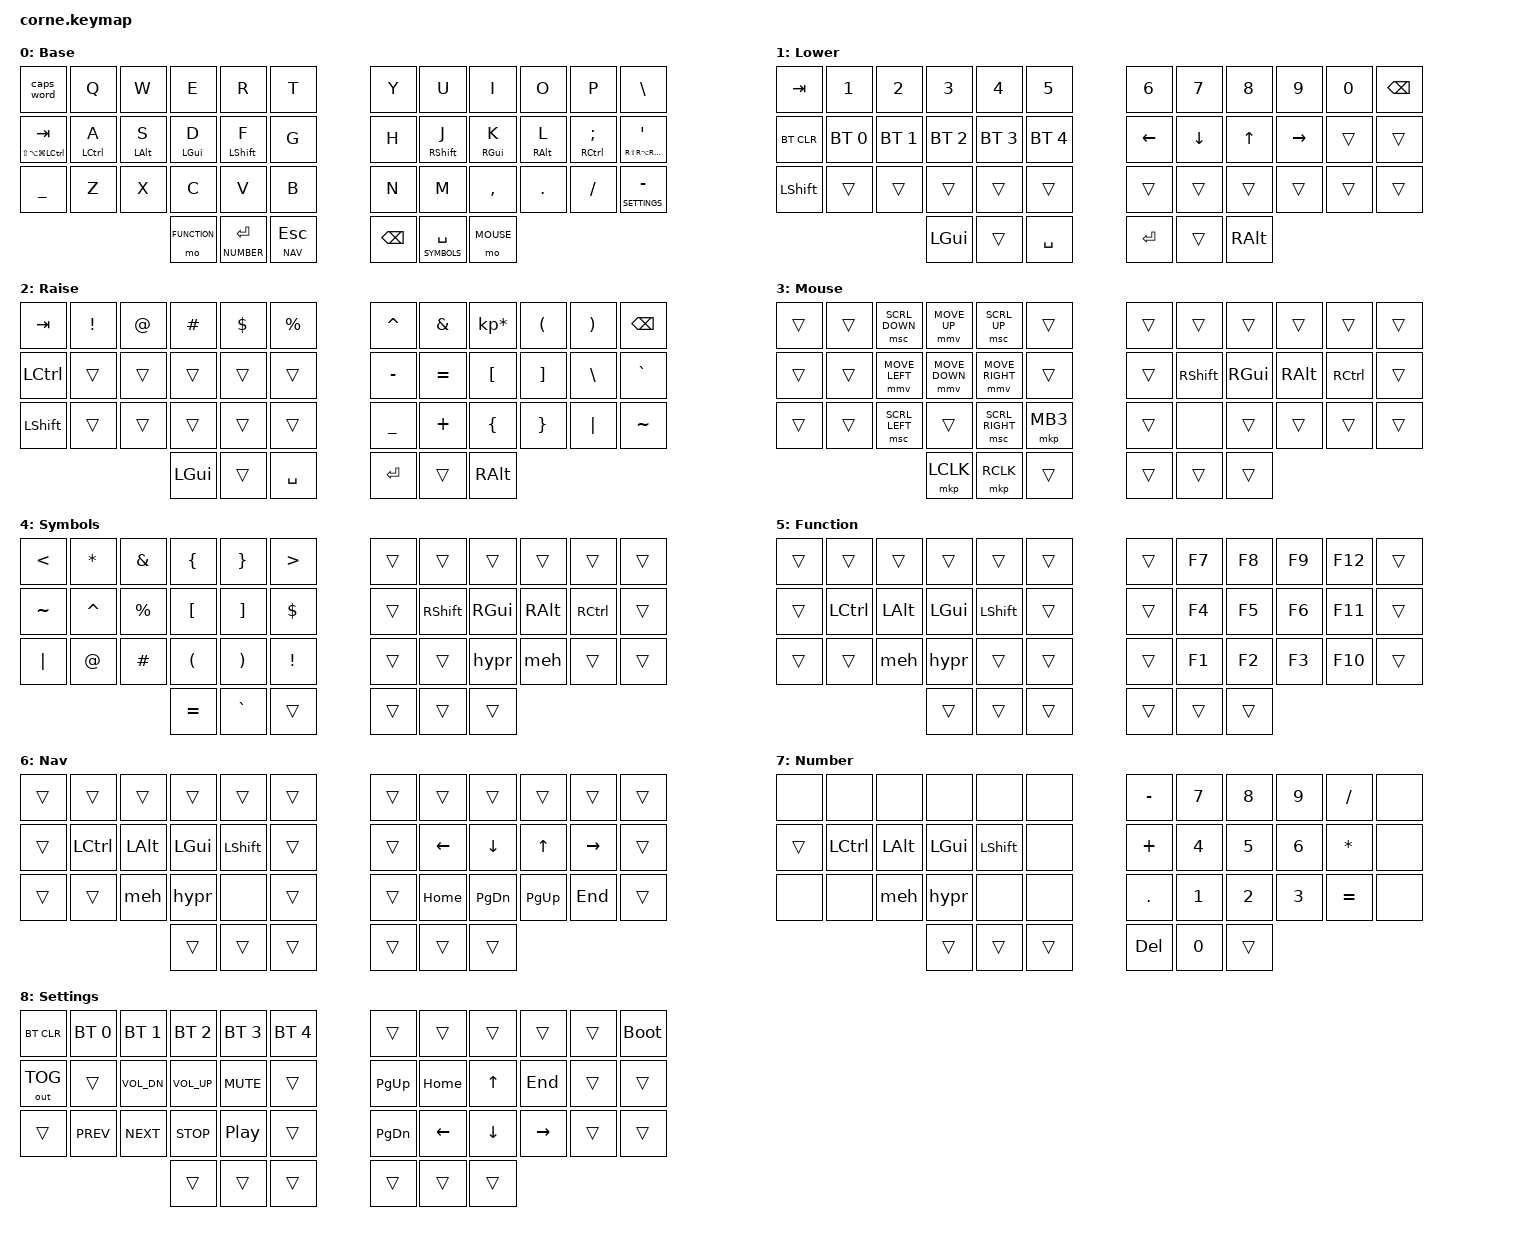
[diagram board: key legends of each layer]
/*
 * Copyright (c) 2020 The ZMK Contributors
 *
 * SPDX-License-Identifier: MIT
 */

#include <behaviors.dtsi>
#include <dt-bindings/zmk/bt.h>
#include <dt-bindings/zmk/keys.h>
#include <dt-bindings/zmk/mouse.h>
#include <dt-bindings/zmk/outputs.h>

#define DEFAULT 0
#define LOWER 1
#define RAISE 2
#define MOUSE 3
#define SYMBOLS 4
#define FUNCTION 5
#define NAV 6
#define NUMBER 7
#define SETTINGS 8

// Key position groups for Corne (36 keys)
// Physical layout positions:
// ╭────────────────────────╮  ╭────────────────────────╮
// │  0   1   2   3   4   5 │  │  6   7   8   9  10  11 │
// │ 12  13  14  15  16  17 │  │ 18  19  20  21  22  23 │
// │ 24  25  26  27  28  29 │  │ 30  31  32  33  34  35 │
// ╰───────────╮ 36  37  38 │  │ 39  40  41 ╭───────────╯
//             ╰────────────╯  ╰────────────╯

#define KEYS_L 0 1 2 3 4 5 12 13 14 15 16 17 24 25 26 27 28 29  // Left hand keys
#define KEYS_R 6 7 8 9 10 11 18 19 20 21 22 23 30 31 32 33 34 35  // Right hand keys
#define THUMBS 36 37 38 39 40 41  // Thumb keys

/ {
    behaviors {
        caps_word {
            continue-list = <UNDERSCORE MINUS BACKSPACE DELETE>;
        };

        hm_l_idx: hm_left_index {
            compatible = "zmk,behavior-hold-tap";
            label = "HM_LEFT_INDEX";
            #binding-cells = <2>;
            flavor = "balanced";
            tapping-term-ms = <180>;  // -20ms for index finger
            quick-tap-ms = <150>;
            require-prior-idle-ms = <125>;
            hold-trigger-key-positions = <KEYS_R THUMBS>;
            hold-trigger-on-release;
            bindings = <&kp>, <&kp>;
        };

        hm_r_idx: hm_right_index {
            compatible = "zmk,behavior-hold-tap";
            label = "HM_RIGHT_INDEX";
            #binding-cells = <2>;
            flavor = "balanced";
            tapping-term-ms = <180>;  // -20ms for index finger
            quick-tap-ms = <150>;
            require-prior-idle-ms = <125>;
            hold-trigger-key-positions = <KEYS_L THUMBS>;
            hold-trigger-on-release;
            bindings = <&kp>, <&kp>;
        };

        hm_l_mid: hm_left_middle {
            compatible = "zmk,behavior-hold-tap";
            label = "HM_LEFT_MIDDLE";
            #binding-cells = <2>;
            flavor = "balanced";
            tapping-term-ms = <230>;  // +30ms for middle finger
            quick-tap-ms = <150>;
            require-prior-idle-ms = <125>;
            hold-trigger-key-positions = <KEYS_R THUMBS>;
            hold-trigger-on-release;
            bindings = <&kp>, <&kp>;
        };

        hm_r_mid: hm_right_middle {
            compatible = "zmk,behavior-hold-tap";
            label = "HM_RIGHT_MIDDLE";
            #binding-cells = <2>;
            flavor = "balanced";
            tapping-term-ms = <230>;  // +30ms for middle finger
            quick-tap-ms = <150>;
            require-prior-idle-ms = <125>;
            hold-trigger-key-positions = <KEYS_L THUMBS>;
            hold-trigger-on-release;
            bindings = <&kp>, <&kp>;
        };

        hm_l_rng: hm_left_ring {
            compatible = "zmk,behavior-hold-tap";
            label = "HM_LEFT_RING";
            #binding-cells = <2>;
            flavor = "balanced";
            tapping-term-ms = <230>;  // +30ms for ring finger
            quick-tap-ms = <150>;
            require-prior-idle-ms = <125>;
            hold-trigger-key-positions = <KEYS_R THUMBS>;
            hold-trigger-on-release;
            bindings = <&kp>, <&kp>;
        };

        hm_r_rng: hm_right_ring {
            compatible = "zmk,behavior-hold-tap";
            label = "HM_RIGHT_RING";
            #binding-cells = <2>;
            flavor = "balanced";
            tapping-term-ms = <230>;  // +30ms for ring finger
            quick-tap-ms = <150>;
            require-prior-idle-ms = <125>;
            hold-trigger-key-positions = <KEYS_L THUMBS>;
            hold-trigger-on-release;
            bindings = <&kp>, <&kp>;
        };

        hm_l_pnk: hm_left_pinky {
            compatible = "zmk,behavior-hold-tap";
            label = "HM_LEFT_PINKY";
            #binding-cells = <2>;
            flavor = "balanced";
            tapping-term-ms = <260>;  // +60ms for pinky
            quick-tap-ms = <150>;
            require-prior-idle-ms = <125>;
            hold-trigger-key-positions = <KEYS_R THUMBS>;
            hold-trigger-on-release;
            bindings = <&kp>, <&kp>;
        };

        hm_r_pnk: hm_right_pinky {
            compatible = "zmk,behavior-hold-tap";
            label = "HM_RIGHT_PINKY";
            #binding-cells = <2>;
            flavor = "balanced";
            tapping-term-ms = <260>;  // +60ms for pinky
            quick-tap-ms = <150>;
            require-prior-idle-ms = <125>;
            hold-trigger-key-positions = <KEYS_L THUMBS>;
            hold-trigger-on-release;
            bindings = <&kp>, <&kp>;
        };

        // Macro behaviors
        meh: meh {
            compatible = "zmk,behavior-macro";
            label = "MEH";
            #binding-cells = <0>;
            bindings = <&kp LC(LA(LSHFT))>;
        };

        hypr: hyper {
            compatible = "zmk,behavior-macro";
            label = "HYPER";
            #binding-cells = <0>;
            bindings = <&kp LC(LA(LG(LSHFT)))>;
        };

        // Layer-tap behaviors
        lt_esc: layer_tap_esc {
            compatible = "zmk,behavior-hold-tap";
            label = "LAYER_TAP_ESC";
            #binding-cells = <2>;
            flavor = "tap-preferred";
            tapping-term-ms = <180>;  // -20ms
            bindings = <&mo>, <&kp>;
        };

        lt_space: layer_tap_space {
            compatible = "zmk,behavior-hold-tap";
            label = "LAYER_TAP_SPACE";
            #binding-cells = <2>;
            flavor = "tap-preferred";
            tapping-term-ms = <180>;  // -20ms
            bindings = <&mo>, <&kp>;
        };

        lt_minus: layer_tap_minus {
            compatible = "zmk,behavior-hold-tap";
            label = "LAYER_TAP_MINUS";
            #binding-cells = <2>;
            flavor = "tap-preferred";
            tapping-term-ms = <235>;  // +35ms
            bindings = <&mo>, <&kp>;
        };
    };

    combos {
        compatible = "zmk,combos";

        combo_copy {
            timeout-ms = <50>;
            key-positions = <26 27>;  // X + C
            bindings = <&kp LG(C)>;
        };

        combo_paste {
            timeout-ms = <50>;
            key-positions = <27 28>;  // C + V
            bindings = <&kp LG(V)>;
        };

        combo_cut {
            timeout-ms = <50>;
            key-positions = <25 26>;  // Z + X
            bindings = <&kp LG(X)>;
        };
    };

    keymap {
        compatible = "zmk,keymap";

        default_layer {
            display-name = "Base";
            bindings = <
&caps_word                 &kp Q              &kp W             &kp E             &kp R              &kp T              &kp Y  &kp U              &kp I             &kp O             &kp P                 &kp BACKSLASH
&mt LS(LA(LG(LCTRL))) TAB  &hm_l_pnk LCTRL A  &hm_l_rng LALT S  &hm_l_mid LGUI D  &hm_l_idx LSHFT F  &kp G              &kp H  &hm_r_idx RSHFT J  &hm_r_mid RGUI K  &hm_r_rng RALT L  &hm_r_pnk RCTRL SEMI  &mt RS(RA(RG(RCTRL))) SQT
&kp UNDER                  &kp Z              &kp X             &kp C             &kp V              &kp B              &kp N  &kp M              &kp COMMA         &kp DOT           &kp FSLH              &lt_minus SETTINGS MINUS
                                                                &mo FUNCTION      &lt NUMBER ENTER   &lt_esc NAV ESC    &kp BACKSPACE  &lt_space SYMBOLS SPACE  &mo MOUSE
            >;
        };

        lower_layer {
            display-name = "Lower";
            bindings = <
&kp TAB     &kp N1        &kp N2        &kp N3        &kp N4        &kp N5          &kp N6    &kp N7    &kp N8    &kp N9     &kp N0  &kp BSPC
&bt BT_CLR  &bt BT_SEL 0  &bt BT_SEL 1  &bt BT_SEL 2  &bt BT_SEL 3  &bt BT_SEL 4    &kp LEFT  &kp DOWN  &kp UP    &kp RIGHT  &trans  &trans
&kp LSHFT   &trans        &trans        &trans        &trans        &trans          &trans    &trans    &trans    &trans     &trans  &trans
                                        &kp LGUI      &trans        &kp SPACE       &kp RET   &trans    &kp RALT
            >;
        };

        raise_layer {
            display-name = "Raise";
            bindings = <
&kp TAB    &kp EXCL  &kp AT  &kp HASH  &kp DLLR  &kp PRCNT    &kp CARET  &kp AMPS   &kp KP_MULTIPLY  &kp LPAR  &kp RPAR  &kp BSPC
&kp LCTRL  &trans    &trans  &trans    &trans    &trans       &kp MINUS  &kp EQUAL  &kp LBKT         &kp RBKT  &kp BSLH  &kp GRAVE
&kp LSHFT  &trans    &trans  &trans    &trans    &trans       &kp UNDER  &kp PLUS   &kp LBRC         &kp RBRC  &kp PIPE  &kp TILDE
                             &kp LGUI  &trans    &kp SPACE    &kp RET    &trans     &kp RALT
            >;
        };
        mouse_layer {
            display-name = "Mouse";
            bindings = <
&trans        &trans        &msc SCRL_DOWN       &mmv MOVE_UP  &msc SCRL_UP       &trans            &trans        &trans        &trans        &trans        &trans        &trans
&trans        &trans        &mmv MOVE_LEFT &mmv MOVE_DOWN &mmv MOVE_RIGHT &trans         &trans        &kp RSHFT     &kp RGUI      &kp RALT      &kp RCTRL     &trans
&trans        &trans        &msc SCRL_LEFT     &trans        &msc SCRL_RIGHT    &mkp MB3         &trans        &none         &trans        &trans        &trans        &trans
                                          &mkp LCLK     &mkp RCLK     &trans            &trans        &trans        &trans
            >;
        };
        symbols_layer {
            display-name = "Symbols";
            bindings = <
&kp LT        &kp STAR      &kp AMPS      &kp LBRC      &kp RBRC      &kp GT            &trans        &trans        &trans        &trans        &trans        &trans
&kp TILDE     &kp CARET     &kp PRCNT     &kp LBKT      &kp RBKT      &kp DLLR          &trans        &kp RSHFT     &kp RGUI      &kp RALT      &kp RCTRL     &trans
&kp PIPE      &kp AT        &kp HASH      &kp LPAR      &kp RPAR      &kp EXCL          &trans        &trans        &hypr         &meh          &trans        &trans
                                          &kp EQUAL     &kp GRAVE     &trans            &trans        &trans        &trans
            >;
        };

        function_layer {
            display-name = "Function";
            bindings = <
&trans        &trans        &trans        &trans        &trans        &trans            &trans        &kp F7        &kp F8        &kp F9        &kp F12       &trans
&trans        &kp LCTRL     &kp LALT      &kp LGUI      &kp LSHFT     &trans            &trans        &kp F4        &kp F5        &kp F6        &kp F11       &trans
&trans        &trans        &meh          &hypr         &trans        &trans            &trans        &kp F1        &kp F2        &kp F3        &kp F10       &trans
                                          &trans        &trans        &trans            &trans        &trans        &trans
            >;
        };

        navigation_layer {
            display-name = "Nav";
            bindings = <
&trans        &trans        &trans        &trans        &trans        &trans            &trans        &trans        &trans        &trans        &trans        &trans
&trans        &kp LCTRL     &kp LALT      &kp LGUI      &kp LSHFT     &trans            &trans        &kp LEFT      &kp DOWN      &kp UP        &kp RIGHT     &trans
&trans        &trans        &meh          &hypr         &none         &trans            &trans        &kp HOME      &kp PG_DN     &kp PG_UP     &kp END       &trans
                                          &trans        &trans        &trans            &trans        &trans        &trans
            >;
        };

        number_layer {
            display-name = "Number";
            bindings = <
&none         &none         &none         &none         &none         &none             &kp MINUS     &kp N7        &kp N8        &kp N9        &kp FSLH      &none
&trans        &kp LCTRL     &kp LALT      &kp LGUI      &kp LSHFT     &none             &kp PLUS      &kp N4        &kp N5        &kp N6        &kp STAR      &none
&none         &none         &meh          &hypr         &none         &none             &kp DOT       &kp N1        &kp N2        &kp N3        &kp EQUAL     &none
                                          &trans        &trans        &trans            &kp DEL       &kp N0        &trans
            >;
        };

        settings_layer {
            display-name = "Settings";
            bindings = <
&bt BT_CLR    &bt BT_SEL 0  &bt BT_SEL 1  &bt BT_SEL 2  &bt BT_SEL 3  &bt BT_SEL 4      &trans        &trans        &trans        &trans        &trans     &bootloader
&out OUT_TOG  &trans        &kp C_VOL_DN  &kp C_VOL_UP  &kp C_MUTE    &trans            &kp PG_UP     &kp HOME      &kp UP        &kp END       &trans     &trans
&trans        &kp C_PREV    &kp C_NEXT    &kp C_STOP    &kp C_PP      &trans            &kp PG_DN     &kp LEFT      &kp DOWN      &kp RIGHT     &trans     &trans
                                          &trans        &trans        &trans            &trans        &trans        &trans
            >;
        };

        extra_1 { status = "reserved"; };

        extra_2 { status = "reserved"; };

        extra_3 { status = "reserved"; };
    };
};
